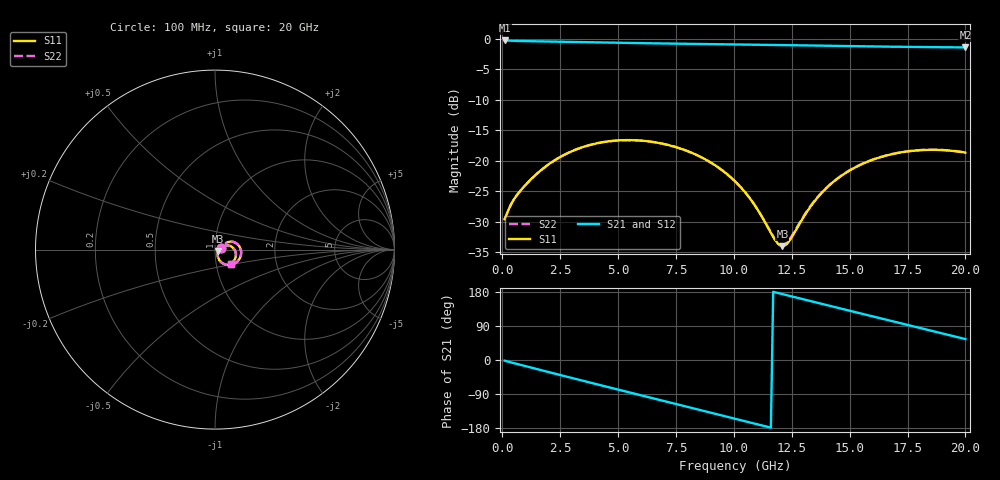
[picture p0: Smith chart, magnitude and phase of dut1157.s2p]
! Touchstone file exported from HFSS 2026.1.0
!  File:  C:/ffzhzh/LocalFiles/Ansys_Project_Files/temp_train_TSV_RDL_1157_1783311541_5512.aedt
!  Generated:  12:29:13 PM Jul  6, 2026
!  Design:  TSV_RDL
!  Project:  temp_train_TSV_RDL_1157_1783311541_5512
! Variables:
!  h_bsmrdl = 3.77um
!  h_ox = 20um
!  h_rdl = 5um
!  h_sub = 54.55um
!  h_tmrdl = 4.47um
!  h_tsv = 54.55um
!  h_via = 3um
!  l_bsmrdl = 480.77um
!  l_sub = 5467.21um
!  l_tmrdl = 886.68um
!  m_sub = 200um
!  pitch = 19.03um
!  r_tsv = 6.1um
!  s_tmrdl = 10um
!  w_bsmrdl = 11.71um
!  w_sub = 500um
!  w_tmrdl = 14.35um
!  x_tsv_center1 = 893.855um
!  x_tsv_center2 = 1386.335um
!  x_tsv_center3 = 2287.365um
!  x_tsv_center4 = 2779.845um
!  x_tsv_center5 = 3680.875um
!  x_tsv_center6 = 4173.355um
# GHz S MA R 50.000000
! Terminal data exported
! Port[1] = TM_RDL1_1_T1
! Port[2] = TM_RDL5_1_T1
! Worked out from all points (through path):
!   200 points, 100 MHz to 20 GHz, reference 50 ohm
!   highest |S21| = -0.29 dB at 100 MHz (marker M1); lowest = -1.4 dB at 20 GHz (marker M2)
!   group delay of S21, straight-line fit = 42.2 ps
!   lowest |S11| = -34.0 dB at 12.1 GHz (marker M3), VSWR 1.04, Z = 51.9 - j0.784 ohm
!   |S11| at or under -10 dB: start of sweep to end of sweep
!   |S22| runs from -33.8 to -16.6 dB; largest |S21 - S12| = 2.2e-14
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0.1  0.03317 11.1  0.9676 -1.8  0.9676 -1.8  0.03317 11.1
! Gamma 0 0 0 0
! Port Impedance 50 0 50 0
0.6  0.0514 27.8  0.9589 -9.9  0.9589 -9.9  0.0514 27.8
1.4  0.0754 31.0  0.9526 -22.5  0.9526 -22.5  0.0754 31.0
2.4  0.1047 24.9  0.9451 -38.1  0.9451 -38.1  0.1047 24.9
3.5  0.1299 12.7  0.9364 -55.1  0.9364 -55.1  0.1299 12.7
4.4  0.1426 1.3  0.9296 -68.9  0.9296 -68.9  0.1426 1.3
5.2  0.1474 -9.3  0.9241 -81.2  0.9241 -81.2  0.1474 -9.2
6.8  0.1395 -30.4  0.9151 -105.5  0.9151 -105.5  0.1394 -30.4
8.3  0.1136 -49.3  0.9079 -128.3  0.9079 -128.3  0.1135 -49.2
9.3  0.08893 -60.4  0.9032 -143.6  0.9032 -143.6  0.08887 -60.2
10.1  0.0665 -67.0  0.8991 -155.8  0.8991 -155.8  0.06646 -66.7
10.9  0.04337 -68.1  0.8948 -168.0  0.8948 -168.0  0.04341 -67.6
11.8  0.02217 -43.7  0.8895 178.4  0.8895 178.4  0.02253 -42.8
12.1  0.01997 -22.2  0.8877 173.8  0.8877 173.8  0.02047 -21.7
12.4  0.02209 -0.9  0.8858 169.3  0.8858 169.3  0.02264 -1.1
13.4  0.04445 23.5  0.8796 154.1  0.8796 154.1  0.0449 22.9
14  0.05983 22.7  0.8758 145.1  0.8758 145.1  0.06025 22.1
14.8  0.07889 16.9  0.8709 133.0  0.8709 133.0  0.07927 16.3
15.8  0.0987 6.8  0.8652 118.0  0.8652 118.0  0.09906 6.3
16.7  0.1118 -3.3  0.8607 104.5  0.8607 104.5  0.1122 -3.8
18.3  0.1228 -22.1  0.854 80.6  0.854 80.6  0.123 -22.6
20  0.1167 -41.7  0.8487 55.2  0.8487 55.2  0.1168 -42.2
